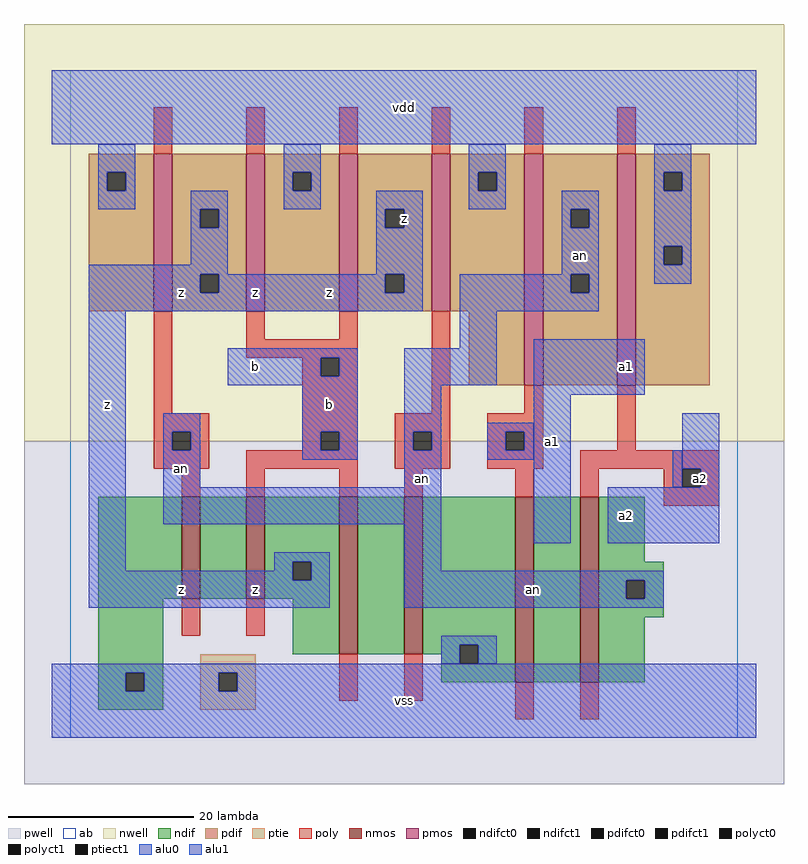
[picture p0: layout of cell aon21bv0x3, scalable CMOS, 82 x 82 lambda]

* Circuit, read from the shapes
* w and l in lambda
.subckt aon21bv0x3 a1 a2 an b vdd vss z
M1 n1 an vss vss nfet w=11 l=2
M2 z b n1 vss nfet w=11 l=2
M3 n2 b z vss nfet w=17 l=2
M4 vss an n2 vss nfet w=17 l=2
M5 n3 a1 vss vss nfet w=20 l=2
M6 an a2 n3 vss nfet w=20 l=2
M7 z an vdd n4 pfet w=17 l=2 m=2
M8 vdd b z n4 pfet w=17 l=2 m=2
M9 an a1 vdd n4 pfet w=25 l=2
M10 vdd a2 an n4 pfet w=25 l=2
.ends

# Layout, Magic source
magic
tech scmos
<< ab >>
rect 0 0 72 72
<< nwell >>
rect -5 32 77 77
<< pwell >>
rect -5 -5 77 32
<< poly >>
rect 9 63 11 68
rect 19 63 21 68
rect 29 63 31 68
rect 39 63 41 68
rect 49 63 51 68
rect 59 63 61 68
rect 9 35 11 46
rect 19 43 21 46
rect 29 43 31 46
rect 19 41 31 43
rect 25 39 27 41
rect 29 39 31 41
rect 9 33 15 35
rect 9 31 11 33
rect 13 31 15 33
rect 25 33 31 39
rect 39 35 41 46
rect 49 35 51 38
rect 25 31 27 33
rect 29 31 31 33
rect 9 29 15 31
rect 19 29 31 31
rect 35 33 41 35
rect 35 31 37 33
rect 39 31 41 33
rect 35 29 41 31
rect 45 33 51 35
rect 45 31 47 33
rect 49 31 51 33
rect 59 31 61 38
rect 45 29 51 31
rect 55 29 70 31
rect 12 26 14 29
rect 19 26 21 29
rect 29 26 31 29
rect 36 26 38 29
rect 48 26 50 29
rect 55 26 57 29
rect 64 27 66 29
rect 68 27 70 29
rect 12 11 14 15
rect 19 11 21 15
rect 29 4 31 9
rect 36 4 38 9
rect 64 25 70 27
rect 48 2 50 6
rect 55 2 57 6
<< ndif >>
rect 3 15 12 26
rect 14 15 19 26
rect 21 19 29 26
rect 21 17 24 19
rect 26 17 29 19
rect 21 15 29 17
rect 3 7 10 15
rect 24 9 29 15
rect 31 9 36 26
rect 38 10 48 26
rect 38 9 42 10
rect 3 5 6 7
rect 8 5 10 7
rect 3 3 10 5
rect 40 8 42 9
rect 44 8 48 10
rect 40 6 48 8
rect 50 6 55 26
rect 57 19 62 26
rect 57 17 64 19
rect 57 15 60 17
rect 62 15 64 17
rect 57 13 64 15
rect 57 6 62 13
<< pdif >>
rect 2 61 9 63
rect 2 59 4 61
rect 6 59 9 61
rect 2 46 9 59
rect 11 57 19 63
rect 11 55 14 57
rect 16 55 19 57
rect 11 50 19 55
rect 11 48 14 50
rect 16 48 19 50
rect 11 46 19 48
rect 21 61 29 63
rect 21 59 24 61
rect 26 59 29 61
rect 21 46 29 59
rect 31 57 39 63
rect 31 55 34 57
rect 36 55 39 57
rect 31 50 39 55
rect 31 48 34 50
rect 36 48 39 50
rect 31 46 39 48
rect 41 61 49 63
rect 41 59 44 61
rect 46 59 49 61
rect 41 46 49 59
rect 43 38 49 46
rect 51 57 59 63
rect 51 55 54 57
rect 56 55 59 57
rect 51 50 59 55
rect 51 48 54 50
rect 56 48 59 50
rect 51 38 59 48
rect 61 61 69 63
rect 61 59 64 61
rect 66 59 69 61
rect 61 53 69 59
rect 61 51 64 53
rect 66 51 69 53
rect 61 38 69 51
<< alu1 >>
rect -2 64 74 72
rect 13 57 17 59
rect 33 57 38 59
rect 13 55 14 57
rect 16 55 17 57
rect 13 51 17 55
rect 2 50 17 51
rect 33 55 34 57
rect 36 55 38 57
rect 33 50 38 55
rect 2 48 14 50
rect 16 48 34 50
rect 36 48 38 50
rect 2 46 38 48
rect 2 18 6 46
rect 17 41 31 42
rect 17 39 27 41
rect 29 39 31 41
rect 17 38 31 39
rect 25 33 31 38
rect 25 31 27 33
rect 29 31 31 33
rect 25 30 31 31
rect 50 37 62 43
rect 22 19 28 20
rect 22 18 24 19
rect 2 17 24 18
rect 26 17 28 19
rect 2 14 28 17
rect 50 21 54 37
rect 66 29 70 35
rect 68 27 70 29
rect 58 21 70 27
rect -2 7 74 8
rect -2 5 6 7
rect 8 5 16 7
rect 18 5 74 7
rect -2 0 74 5
<< ptie >>
rect 14 7 20 9
rect 14 5 16 7
rect 18 5 20 7
rect 14 3 20 5
<< nmos >>
rect 12 15 14 26
rect 19 15 21 26
rect 29 9 31 26
rect 36 9 38 26
rect 48 6 50 26
rect 55 6 57 26
<< pmos >>
rect 9 46 11 63
rect 19 46 21 63
rect 29 46 31 63
rect 39 46 41 63
rect 49 38 51 63
rect 59 38 61 63
<< polyct0 >>
rect 11 31 13 33
rect 37 31 39 33
rect 47 31 49 33
<< polyct1 >>
rect 27 39 29 41
rect 27 31 29 33
rect 66 27 68 29
<< ndifct0 >>
rect 42 8 44 10
rect 60 15 62 17
<< ndifct1 >>
rect 24 17 26 19
rect 6 5 8 7
<< ptiect1 >>
rect 16 5 18 7
<< pdifct0 >>
rect 4 59 6 61
rect 24 59 26 61
rect 44 59 46 61
rect 54 55 56 57
rect 54 48 56 50
rect 64 59 66 61
rect 64 51 66 53
<< pdifct1 >>
rect 14 55 16 57
rect 14 48 16 50
rect 34 55 36 57
rect 34 48 36 50
<< alu0 >>
rect 3 61 7 64
rect 3 59 4 61
rect 6 59 7 61
rect 23 61 27 64
rect 23 59 24 61
rect 26 59 27 61
rect 43 61 47 64
rect 43 59 44 61
rect 46 59 47 61
rect 63 61 67 64
rect 63 59 64 61
rect 66 59 67 61
rect 3 57 7 59
rect 23 57 27 59
rect 43 57 47 59
rect 53 57 57 59
rect 53 55 54 57
rect 56 55 57 57
rect 53 50 57 55
rect 42 48 54 50
rect 56 48 57 50
rect 63 53 67 59
rect 63 51 64 53
rect 66 51 67 53
rect 63 49 67 51
rect 42 46 57 48
rect 42 42 46 46
rect 10 33 14 35
rect 10 31 11 33
rect 13 31 14 33
rect 10 27 14 31
rect 36 38 46 42
rect 36 33 40 38
rect 36 31 37 33
rect 39 31 40 33
rect 36 27 40 31
rect 45 33 50 34
rect 45 31 47 33
rect 49 31 50 33
rect 45 30 50 31
rect 10 23 40 27
rect 36 18 40 23
rect 65 27 66 31
rect 36 17 64 18
rect 36 15 60 17
rect 62 15 64 17
rect 36 14 64 15
rect 40 10 46 11
rect 40 8 42 10
rect 44 8 46 10
<< labels >>
rlabel alu0 12 29 12 29 6 an
rlabel alu0 38 28 38 28 6 an
rlabel alu0 50 16 50 16 6 an
rlabel alu0 55 52 55 52 6 an
rlabel alu1 12 16 12 16 6 z
rlabel alu1 4 36 4 36 6 z
rlabel alu1 12 48 12 48 6 z
rlabel alu1 20 16 20 16 6 z
rlabel alu1 28 36 28 36 6 b
rlabel alu1 20 40 20 40 6 b
rlabel alu1 20 48 20 48 6 z
rlabel alu1 28 48 28 48 6 z
rlabel alu1 36 4 36 4 6 vss
rlabel alu1 52 32 52 32 6 a1
rlabel alu1 36 56 36 56 6 z
rlabel alu1 36 68 36 68 6 vdd
rlabel alu1 60 24 60 24 6 a2
rlabel alu1 68 28 68 28 6 a2
rlabel alu1 60 40 60 40 6 a1
<< end >>
